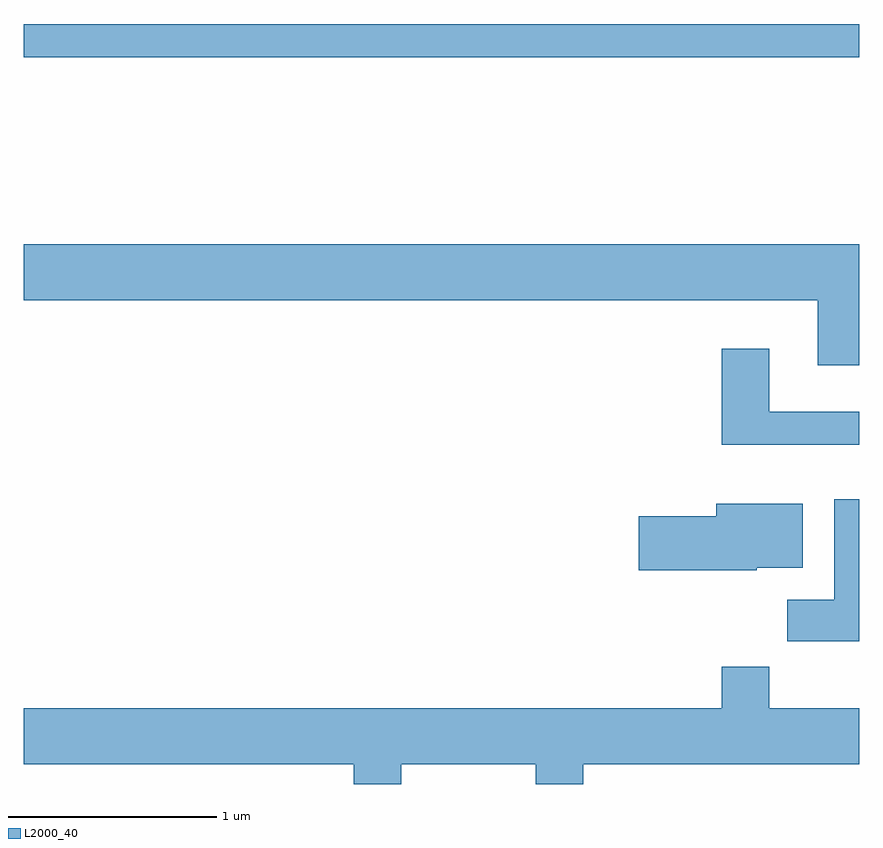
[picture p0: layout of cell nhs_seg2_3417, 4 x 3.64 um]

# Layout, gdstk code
import gdstk
lib = gdstk.Library(unit=1e-6, precision=1e-09)
def R(c, l, rs):  # rectangles x0, y0, x1, y1
    for r in rs: c.add(gdstk.rectangle(r[:2], r[2:], *l))
def P(c, l, *ps):  # polygons
    for p in ps: c.add(gdstk.Polygon(p, *l))
L2000_40 = (2000, 40)

nhs_seg2_3417 = lib.new_cell('nhs_seg2_3417')
R(nhs_seg2_3417, L2000_40, [(285.611,1027.281,289.611,1027.439)])
P(nhs_seg2_3417, L2000_40, [(289.611,1026.384),(285.611,1026.384),(285.611,1026.116),(289.411,1026.116),(289.411,1025.806),(289.611,1025.806)],
  [(289.611,1025.584),(289.179,1025.584),(289.179,1025.884),(288.951,1025.884),(288.951,1025.426),(289.611,1025.426)],
  [(289.611,1025.164),(289.491,1025.164),(289.491,1024.684),(289.266,1024.684),(289.266,1024.486),(289.611,1024.486)],
  [(289.12,1024.836),(289.339,1024.836),(289.339,1025.144),(288.926,1025.144),(288.926,1025.084),(288.556,1025.084),(288.556,1024.826),(289.12,1024.826)],
  [(287.419,1023.896),(288.061,1023.896),(288.061,1023.802),(288.289,1023.802),(288.289,1023.896),(289.611,1023.896),(289.611,1024.164),(289.179,1024.164),(289.179,1024.364),(288.951,1024.364),(288.951,1024.164),(285.611,1024.164),(285.611,1023.896),(287.191,1023.896),(287.191,1023.802),(287.419,1023.802)])

lib.write_gds('nhs_seg2_3417.gds')
